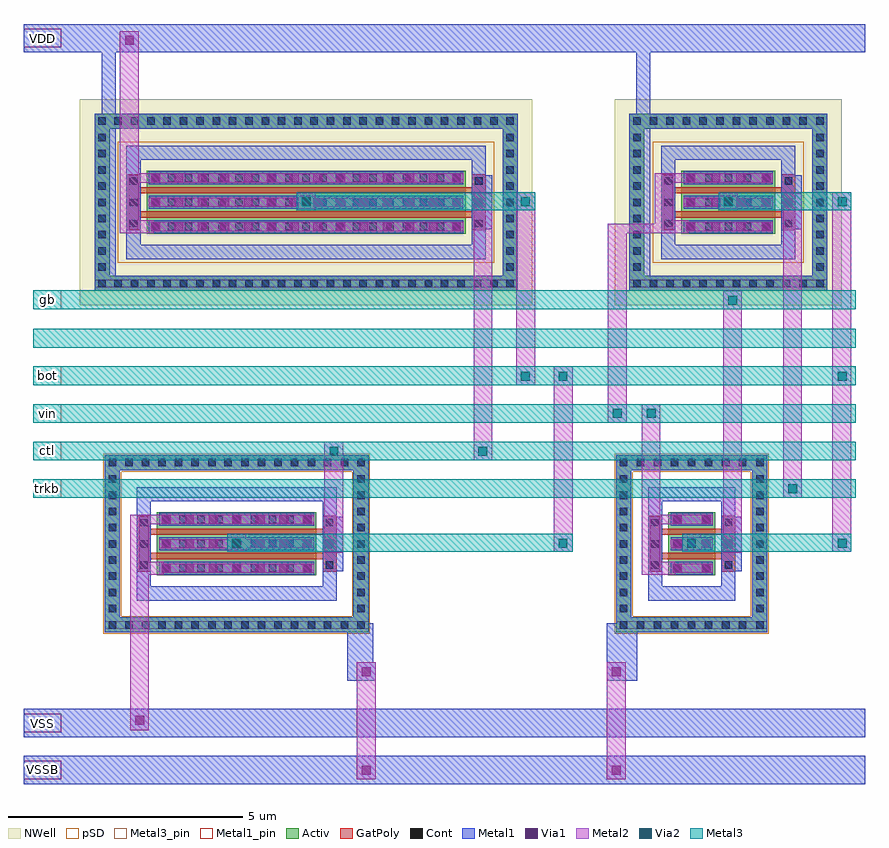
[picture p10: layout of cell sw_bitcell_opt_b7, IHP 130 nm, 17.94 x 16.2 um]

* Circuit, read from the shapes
.subckt sw_bitcell_opt_b7 VDD VSS VSSB bot ctl gb trkb vin
XM1 bot ctl VSS VSSB sg13_lv_nmos w=3.4u l=0.13u m=2
XM2 bot gb vin VSSB sg13_lv_nmos w=1u l=0.13u m=2
XM3 bot ctl VDD VDD sg13_lv_pmos w=6.8u l=0.13u m=2
XM4 bot trkb vin VDD sg13_lv_pmos w=2u l=0.13u m=2
.ends

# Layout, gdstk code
import gdstk
lib = gdstk.Library(unit=1e-6, precision=1e-09)
def R(c, l, rs):  # rectangles x0, y0, x1, y1
    for r in rs: c.add(gdstk.rectangle(r[:2], r[2:], *l))
def A(c, l, x, y, w, h, nx, ny, dx, dy):  # array of equal rectangles
    R(c, l, [(x+i*dx, y+j*dy, x+i*dx+w, y+j*dy+h) for i in range(nx) for j in range(ny)])
def P(c, l, *ps):  # polygons
    for p in ps: c.add(gdstk.Polygon(p, *l))
Activ = (1, 0)
GatPoly = (5, 0)
Cont = (6, 0)
Metal1 = (8, 0)
Metal1_pin = (8, 2)
Metal2 = (10, 0)
pSD = (14, 0)
Via1 = (19, 0)
Via2 = (29, 0)
Metal3 = (30, 0)
Metal3_pin = (30, 2)
NWell = (31, 0)

rfnmos_13 = lib.new_cell('rfnmos$13')
R(rfnmos_13, Activ, [(1.14,1.245,4.54,2.595)])
P(rfnmos_13, Activ, [(0.03,0.03),(0.03,3.49),(0.35,3.49),(0.35,0.35),(5.33,0.35),(5.33,3.49),(0.03,3.49),(0.03,3.81),(5.65,3.81),(5.65,0.03)])
R(rfnmos_13, GatPoly, [(0.71,1.32,1.01,2.52), (4.67,1.32,4.97,2.52), (1.01,1.595,4.67,1.725), (1.01,2.115,4.67,2.245)])
A(rfnmos_13, Cont, 0.46, 0.11, 0.16, 0.16, 3, 2, 0.355, 3.46)
A(rfnmos_13, Cont, 1.52, 0.11, 0.16, 0.16, 3, 2, 0.355, 3.46)
A(rfnmos_13, Cont, 2.58, 0.11, 0.16, 0.16, 3, 2, 0.355, 3.46)
A(rfnmos_13, Cont, 3.64, 0.11, 0.16, 0.16, 3, 2, 0.355, 3.46)
A(rfnmos_13, Cont, 4.7, 0.11, 0.16, 0.16, 3, 2, 0.355, 3.46)
A(rfnmos_13, Cont, 0.11, 0.46, 0.16, 0.16, 1, 9, 0, 0.345)
A(rfnmos_13, Cont, 5.41, 0.46, 0.16, 0.16, 1, 9, 0, 0.345)
A(rfnmos_13, Cont, 1.24, 1.32, 0.16, 0.16, 9, 3, 0.38, 0.52)
A(rfnmos_13, Cont, 0.78, 1.39, 0.16, 0.16, 1, 3, 0, 0.45)
A(rfnmos_13, Cont, 4.74, 1.39, 0.16, 0.16, 1, 3, 0, 0.45)
R(rfnmos_13, Cont, [(0.11,0.11,0.27,0.27), (0.11,3.57,0.27,3.73)])
A(rfnmos_13, Metal1, 1.19, 1.26, 3.3, 0.28, 1, 3, 0, 0.52)
R(rfnmos_13, Metal1, [(0.03,0.03,5.65,0.35), (0.03,0.35,0.35,3.49), (5.33,0.35,5.65,3.49), (0.76,1.34,0.96,2.5), (4.72,1.34,4.92,2.5), (0.03,3.49,5.65,3.81)])
P(rfnmos_13, Metal1, [(0.71,0.71),(0.71,2.83),(1.01,2.83),(1.01,1.01),(4.67,1.01),(4.67,2.83),(0.71,2.83),(0.71,3.13),(4.97,3.13),(4.97,0.71)])
R(rfnmos_13, Metal1_pin, [(0.03,0.11,5.65,0.27), (0.03,0.11,5.65,0.27), (1.19,1.26,4.49,1.54), (1.19,1.26,4.49,1.54), (0.76,1.34,0.96,2.5), (0.76,1.34,0.96,2.5), (1.19,1.78,4.49,2.06), (1.19,1.78,4.49,2.06)])
A(rfnmos_13, Metal2, 1.19, 1.3, 3.3, 0.2, 1, 3, 0, 0.52)
P(rfnmos_13, pSD, [(0,0),(0,3.46),(0.38,3.46),(0.38,0.38),(5.3,0.38),(5.3,3.46),(0,3.46),(0,3.84),(5.68,3.84),(5.68,0)])
A(rfnmos_13, Via1, 1.24, 1.305, 0.19, 0.19, 3, 3, 0.5, 0.52)
A(rfnmos_13, Via1, 2.745, 1.305, 0.19, 0.19, 3, 3, 0.5, 0.52)
A(rfnmos_13, Via1, 4.25, 1.305, 0.19, 0.19, 1, 3, 0, 0.52)
rfnmos_13.add(gdstk.Label('S', (2.84,1.42), layer=63, texttype=0))
rfnmos_13.add(gdstk.Label('D', (2.84,1.94), layer=63, texttype=0))
rfnmos_13.add(gdstk.Label('G', (0.86,1.92), layer=63, texttype=0))
rfnmos_13.add(gdstk.Label('TIE', (2.84,0.19), layer=63, texttype=0))
rfnmos_13.add(gdstk.Label('rfnmos', (2.84,3.65), layer=63, texttype=0))

rfpmos_12 = lib.new_cell('rfpmos$12')
R(rfpmos_12, Activ, [(1.42,1.525,8.22,2.875)])
P(rfpmos_12, Activ, [(0.31,0.31),(0.31,3.77),(0.63,3.77),(0.63,0.63),(9.01,0.63),(9.01,3.77),(0.31,3.77),(0.31,4.09),(9.33,4.09),(9.33,0.31)])
R(rfpmos_12, GatPoly, [(0.99,1.6,1.29,2.8), (8.35,1.6,8.65,2.8), (1.29,1.875,8.35,2.005), (1.29,2.395,8.35,2.525)])
A(rfpmos_12, Cont, 1.43, 0.39, 0.16, 0.16, 3, 2, 0.35, 3.46)
A(rfpmos_12, Cont, 3.17, 0.39, 0.16, 0.16, 3, 2, 0.35, 3.46)
A(rfpmos_12, Cont, 4.91, 0.39, 0.16, 0.16, 3, 2, 0.35, 3.46)
A(rfpmos_12, Cont, 6.65, 0.39, 0.16, 0.16, 3, 2, 0.35, 3.46)
A(rfpmos_12, Cont, 8.39, 0.39, 0.16, 0.16, 3, 2, 0.35, 3.46)
A(rfpmos_12, Cont, 0.39, 0.74, 0.16, 0.16, 1, 9, 0, 0.345)
A(rfpmos_12, Cont, 9.09, 0.74, 0.16, 0.16, 1, 9, 0, 0.345)
A(rfpmos_12, Cont, 1.52, 1.6, 0.16, 0.16, 1, 3, 0, 0.52)
A(rfpmos_12, Cont, 1.875, 1.6, 0.16, 0.16, 1, 3, 0, 0.52)
A(rfpmos_12, Cont, 2.235, 1.6, 0.16, 0.16, 1, 3, 0, 0.52)
A(rfpmos_12, Cont, 2.59, 1.6, 0.16, 0.16, 1, 3, 0, 0.52)
A(rfpmos_12, Cont, 2.95, 1.6, 0.16, 0.16, 1, 3, 0, 0.52)
A(rfpmos_12, Cont, 3.305, 1.6, 0.16, 0.16, 1, 3, 0, 0.52)
A(rfpmos_12, Cont, 3.665, 1.6, 0.16, 0.16, 1, 3, 0, 0.52)
A(rfpmos_12, Cont, 4.02, 1.6, 0.16, 0.16, 3, 3, 0.36, 0.52)
A(rfpmos_12, Cont, 5.095, 1.6, 0.16, 0.16, 1, 3, 0, 0.52)
A(rfpmos_12, Cont, 5.455, 1.6, 0.16, 0.16, 1, 3, 0, 0.52)
A(rfpmos_12, Cont, 5.81, 1.6, 0.16, 0.16, 1, 3, 0, 0.52)
A(rfpmos_12, Cont, 6.17, 1.6, 0.16, 0.16, 1, 3, 0, 0.52)
A(rfpmos_12, Cont, 6.525, 1.6, 0.16, 0.16, 1, 3, 0, 0.52)
A(rfpmos_12, Cont, 6.885, 1.6, 0.16, 0.16, 1, 3, 0, 0.52)
A(rfpmos_12, Cont, 7.24, 1.6, 0.16, 0.16, 3, 3, 0.36, 0.52)
A(rfpmos_12, Cont, 1.06, 1.67, 0.16, 0.16, 1, 3, 0, 0.45)
A(rfpmos_12, Cont, 8.42, 1.67, 0.16, 0.16, 1, 3, 0, 0.45)
R(rfpmos_12, Cont, [(0.39,0.39,0.55,0.55), (0.735,0.39,0.895,0.55), (1.085,0.39,1.245,0.55), (2.475,0.39,2.635,0.55), (2.825,0.39,2.985,0.55), (4.215,0.39,4.375,0.55), (4.565,0.39,4.725,0.55), (5.955,0.39,6.115,0.55), (6.305,0.39,6.465,0.55), (7.695,0.39,7.855,0.55), (8.045,0.39,8.205,0.55), (0.39,3.85,0.55,4.01), (0.735,3.85,0.895,4.01), (1.085,3.85,1.245,4.01), (2.475,3.85,2.635,4.01), (2.825,3.85,2.985,4.01), (4.215,3.85,4.375,4.01), (4.565,3.85,4.725,4.01), (5.955,3.85,6.115,4.01), (6.305,3.85,6.465,4.01), (7.695,3.85,7.855,4.01), (8.045,3.85,8.205,4.01)])
A(rfpmos_12, Metal1, 1.47, 1.54, 6.7, 0.28, 1, 3, 0, 0.52)
R(rfpmos_12, Metal1, [(0.31,0.31,9.33,0.63), (0.31,0.63,0.63,3.77), (9.01,0.63,9.33,3.77), (1.04,1.62,1.24,2.78), (8.4,1.62,8.6,2.78), (0.31,3.77,9.33,4.09)])
P(rfpmos_12, Metal1, [(0.99,0.99),(0.99,3.11),(1.29,3.11),(1.29,1.29),(8.35,1.29),(8.35,3.11),(0.99,3.11),(0.99,3.41),(8.65,3.41),(8.65,0.99)])
R(rfpmos_12, Metal1_pin, [(0.31,0.39,9.33,0.55), (0.31,0.39,9.33,0.55), (1.47,1.54,8.17,1.82), (1.47,1.54,8.17,1.82), (1.04,1.62,1.24,2.78), (1.04,1.62,1.24,2.78), (1.47,2.06,8.17,2.34), (1.47,2.06,8.17,2.34)])
A(rfpmos_12, Metal2, 1.47, 1.58, 6.7, 0.2, 1, 3, 0, 0.52)
R(rfpmos_12, pSD, [(0.81,0.91,8.83,3.49)])
A(rfpmos_12, Via1, 1.52, 1.585, 0.19, 0.19, 1, 3, 0, 0.52)
A(rfpmos_12, Via1, 2.01, 1.585, 0.19, 0.19, 1, 3, 0, 0.52)
A(rfpmos_12, Via1, 2.505, 1.585, 0.19, 0.19, 1, 3, 0, 0.52)
A(rfpmos_12, Via1, 2.995, 1.585, 0.19, 0.19, 3, 3, 0.495, 0.52)
A(rfpmos_12, Via1, 4.475, 1.585, 0.19, 0.19, 1, 3, 0, 0.52)
A(rfpmos_12, Via1, 4.97, 1.585, 0.19, 0.19, 1, 3, 0, 0.52)
A(rfpmos_12, Via1, 5.46, 1.585, 0.19, 0.19, 3, 3, 0.495, 0.52)
A(rfpmos_12, Via1, 6.94, 1.585, 0.19, 0.19, 3, 3, 0.495, 0.52)
R(rfpmos_12, NWell, [(0,0,9.64,4.4)])
rfpmos_12.add(gdstk.Label('S', (4.82,1.7), layer=63, texttype=0))
rfpmos_12.add(gdstk.Label('D', (4.82,2.22), layer=63, texttype=0))
rfpmos_12.add(gdstk.Label('G', (1.14,2.2), layer=63, texttype=0))
rfpmos_12.add(gdstk.Label('TIE', (4.82,0.47), layer=63, texttype=0))
rfpmos_12.add(gdstk.Label('rfpmos', (4.82,3.93), layer=63, texttype=0))

rfnmos_1_9 = lib.new_cell('rfnmos$1$9')
R(rfnmos_1_9, Activ, [(1.14,1.245,2.14,2.595)])
P(rfnmos_1_9, Activ, [(0.03,0.03),(0.03,3.49),(0.35,3.49),(0.35,0.35),(2.93,0.35),(2.93,3.49),(0.03,3.49),(0.03,3.81),(3.25,3.81),(3.25,0.03)])
R(rfnmos_1_9, GatPoly, [(0.71,1.32,1.01,2.52), (2.27,1.32,2.57,2.52), (1.01,1.595,2.27,1.725), (1.01,2.115,2.27,2.245)])
A(rfnmos_1_9, Cont, 0.11, 0.46, 0.16, 0.16, 1, 9, 0, 0.345)
A(rfnmos_1_9, Cont, 3.01, 0.46, 0.16, 0.16, 1, 9, 0, 0.345)
A(rfnmos_1_9, Cont, 1.24, 1.32, 0.16, 0.16, 1, 3, 0, 0.52)
A(rfnmos_1_9, Cont, 1.88, 1.32, 0.16, 0.16, 1, 3, 0, 0.52)
A(rfnmos_1_9, Cont, 0.78, 1.39, 0.16, 0.16, 1, 3, 0, 0.45)
A(rfnmos_1_9, Cont, 2.34, 1.39, 0.16, 0.16, 1, 3, 0, 0.45)
R(rfnmos_1_9, Cont, [(0.11,0.11,0.27,0.27), (0.47,0.11,0.63,0.27), (0.835,0.11,0.995,0.27), (1.195,0.11,1.355,0.27), (1.56,0.11,1.72,0.27), (1.92,0.11,2.08,0.27), (2.285,0.11,2.445,0.27), (2.645,0.11,2.805,0.27), (3.01,0.11,3.17,0.27), (0.11,3.57,0.27,3.73), (0.47,3.57,0.63,3.73), (0.835,3.57,0.995,3.73), (1.195,3.57,1.355,3.73), (1.56,3.57,1.72,3.73), (1.92,3.57,2.08,3.73), (2.285,3.57,2.445,3.73), (2.645,3.57,2.805,3.73), (3.01,3.57,3.17,3.73)])
A(rfnmos_1_9, Metal1, 1.19, 1.26, 0.9, 0.28, 1, 3, 0, 0.52)
R(rfnmos_1_9, Metal1, [(0.03,0.03,3.25,0.35), (0.03,0.35,0.35,3.49), (2.93,0.35,3.25,3.49), (0.76,1.34,0.96,2.5), (2.32,1.34,2.52,2.5), (0.03,3.49,3.25,3.81)])
P(rfnmos_1_9, Metal1, [(0.71,0.71),(0.71,2.83),(1.01,2.83),(1.01,1.01),(2.27,1.01),(2.27,2.83),(0.71,2.83),(0.71,3.13),(2.57,3.13),(2.57,0.71)])
R(rfnmos_1_9, Metal1_pin, [(0.03,0.11,3.25,0.27), (0.03,0.11,3.25,0.27), (1.19,1.26,2.09,1.54), (1.19,1.26,2.09,1.54), (0.76,1.34,0.96,2.5), (0.76,1.34,0.96,2.5), (1.19,1.78,2.09,2.06), (1.19,1.78,2.09,2.06)])
A(rfnmos_1_9, Metal2, 1.19, 1.3, 0.9, 0.2, 1, 3, 0, 0.52)
P(rfnmos_1_9, pSD, [(0,0),(0,3.46),(0.38,3.46),(0.38,0.38),(2.9,0.38),(2.9,3.46),(0,3.46),(0,3.84),(3.28,3.84),(3.28,0)])
A(rfnmos_1_9, Via1, 1.24, 1.305, 0.19, 0.19, 1, 3, 0, 0.52)
A(rfnmos_1_9, Via1, 1.85, 1.305, 0.19, 0.19, 1, 3, 0, 0.52)
rfnmos_1_9.add(gdstk.Label('S', (1.64,1.42), layer=63, texttype=0))
rfnmos_1_9.add(gdstk.Label('D', (1.64,1.94), layer=63, texttype=0))
rfnmos_1_9.add(gdstk.Label('G', (0.86,1.92), layer=63, texttype=0))
rfnmos_1_9.add(gdstk.Label('TIE', (1.64,0.19), layer=63, texttype=0))
rfnmos_1_9.add(gdstk.Label('rfnmos', (1.64,3.65), layer=63, texttype=0))

rfpmos_1_9 = lib.new_cell('rfpmos$1$9')
R(rfpmos_1_9, Activ, [(1.42,1.525,3.42,2.875)])
P(rfpmos_1_9, Activ, [(0.31,0.31),(0.31,3.77),(0.63,3.77),(0.63,0.63),(4.21,0.63),(4.21,3.77),(0.31,3.77),(0.31,4.09),(4.53,4.09),(4.53,0.31)])
R(rfpmos_1_9, GatPoly, [(0.99,1.6,1.29,2.8), (3.55,1.6,3.85,2.8), (1.29,1.875,3.55,2.005), (1.29,2.395,3.55,2.525)])
A(rfpmos_1_9, Cont, 0.74, 0.39, 0.16, 0.16, 11, 2, 0.355, 3.46)
A(rfpmos_1_9, Cont, 0.39, 0.74, 0.16, 0.16, 1, 9, 0, 0.345)
A(rfpmos_1_9, Cont, 4.29, 0.74, 0.16, 0.16, 1, 9, 0, 0.345)
A(rfpmos_1_9, Cont, 1.52, 1.6, 0.16, 0.16, 5, 3, 0.41, 0.52)
A(rfpmos_1_9, Cont, 1.06, 1.67, 0.16, 0.16, 1, 3, 0, 0.45)
A(rfpmos_1_9, Cont, 3.62, 1.67, 0.16, 0.16, 1, 3, 0, 0.45)
R(rfpmos_1_9, Cont, [(0.39,0.39,0.55,0.55), (0.39,3.85,0.55,4.01)])
A(rfpmos_1_9, Metal1, 1.47, 1.54, 1.9, 0.28, 1, 3, 0, 0.52)
R(rfpmos_1_9, Metal1, [(0.31,0.31,4.53,0.63), (0.31,0.63,0.63,3.77), (4.21,0.63,4.53,3.77), (1.04,1.62,1.24,2.78), (3.6,1.62,3.8,2.78), (0.31,3.77,4.53,4.09)])
P(rfpmos_1_9, Metal1, [(0.99,0.99),(0.99,3.11),(1.29,3.11),(1.29,1.29),(3.55,1.29),(3.55,3.11),(0.99,3.11),(0.99,3.41),(3.85,3.41),(3.85,0.99)])
R(rfpmos_1_9, Metal1_pin, [(0.31,0.39,4.53,0.55), (0.31,0.39,4.53,0.55), (1.47,1.54,3.37,1.82), (1.47,1.54,3.37,1.82), (1.04,1.62,1.24,2.78), (1.04,1.62,1.24,2.78), (1.47,2.06,3.37,2.34), (1.47,2.06,3.37,2.34)])
A(rfpmos_1_9, Metal2, 1.47, 1.58, 1.9, 0.2, 1, 3, 0, 0.52)
R(rfpmos_1_9, pSD, [(0.81,0.91,4.03,3.49)])
A(rfpmos_1_9, Via1, 1.52, 1.585, 0.19, 0.19, 3, 3, 0.535, 0.52)
A(rfpmos_1_9, Via1, 3.13, 1.585, 0.19, 0.19, 1, 3, 0, 0.52)
R(rfpmos_1_9, NWell, [(0,0,4.84,4.4)])
rfpmos_1_9.add(gdstk.Label('S', (2.42,1.7), layer=63, texttype=0))
rfpmos_1_9.add(gdstk.Label('D', (2.42,2.22), layer=63, texttype=0))
rfpmos_1_9.add(gdstk.Label('G', (1.14,2.2), layer=63, texttype=0))
rfpmos_1_9.add(gdstk.Label('TIE', (2.42,0.47), layer=63, texttype=0))
rfpmos_1_9.add(gdstk.Label('rfpmos', (2.42,3.93), layer=63, texttype=0))

sw_bitcell_opt_b7 = lib.new_cell('sw_bitcell_opt_b7')
R(sw_bitcell_opt_b7, Metal1, [(-1.2,-3.2,16.74,-2.6), (5.9,-3.1,6.3,-2.7), (11.23,-3.1,11.63,-2.7), (-1.2,-2.2,16.74,-1.6), (1.07,-2.05,1.47,-1.65), (5.7,-1,6.25,0.23), (5.9,-1,6.3,-0.6), (11.23,-1,11.63,-0.6), (11.23,-1,11.88,0.23), (5.21,1.34,5.61,2.5), (13.71,1.34,14.11,2.5), (0.46,7.44,0.76,12.4), (11.86,7.44,12.16,12.4), (8.39,8.62,8.79,9.78), (14.99,8.62,15.39,9.78), (-1.2,12.4,16.74,13), (0.85,12.45,1.25,12.85)])
R(sw_bitcell_opt_b7, Metal1_pin, [(-1.2,-3.1,-0.4,-2.7), (-1.2,-2.1,-0.4,-1.7), (-1.2,12.5,-0.4,12.9)])
R(sw_bitcell_opt_b7, Metal2, [(5.9,-3.1,6.3,-2.7), (11.23,-3.1,11.63,-2.7), (5.9,-2.9,6.3,-0.8), (11.23,-2.9,11.63,-0.8), (1.07,-2.05,1.47,-1.65), (1.07,-1.9,1.47,1.46), (5.9,-1,6.3,-0.6), (11.23,-1,11.63,-0.6), (1.07,1.26,1.79,1.54), (1.07,1.26,1.47,2.54), (11.97,1.26,12.69,1.54), (11.97,1.26,12.37,2.54), (5.21,1.73,5.61,2.11), (13.71,1.73,14.11,2.11), (3.14,1.75,3.54,2.13), (10.1,1.75,10.5,2.13), (12.84,1.75,13.24,2.13), (16.04,1.75,16.44,2.13), (5.21,1.92,5.61,3.9), (13.71,1.92,14.11,7.12), (10.1,1.94,10.5,5.5), (16.04,1.94,16.44,5.5), (1.07,2.34,1.79,2.54), (11.97,2.34,12.69,2.54), (11.97,2.4,12.37,4.9), (14.99,2.9,15.39,3.3), (14.99,3.1,15.39,9.2), (5.21,3.7,5.61,4.1), (8.39,3.7,8.79,4.1), (8.39,3.9,8.79,9.2), (11.25,4.5,11.65,4.9), (11.25,4.5,11.65,8.74), (11.97,4.5,12.37,4.9), (9.3,5.3,9.7,5.7), (10.1,5.3,10.5,5.7), (16.04,5.3,16.44,5.7), (16.04,5.3,16.44,5.7), (9.3,5.5,9.7,9.22), (16.04,5.5,16.44,9.22), (13.71,6.93,14.11,7.31), (0.85,8.54,1.57,8.82), (0.85,8.54,1.25,9.82), (11.25,8.54,12.65,8.74), (12.25,8.54,12.97,8.82), (12.25,8.54,12.65,9.82), (8.39,9.01,8.79,9.39), (14.99,9.01,15.39,9.39), (4.62,9.03,5.02,9.41), (9.3,9.03,9.7,9.41), (13.62,9.03,14.02,9.41), (16.04,9.03,16.44,9.41), (0.85,9.62,1.57,9.82), (0.85,9.62,1.25,12.7), (12.25,9.62,12.97,9.82), (0.85,12.45,1.25,12.85)])
R(sw_bitcell_opt_b7, Via1, [(6.01,-3,6.2,-2.81), (11.34,-3,11.53,-2.81), (1.18,-1.94,1.37,-1.75), (6.01,-0.9,6.2,-0.71), (11.34,-0.9,11.53,-0.71), (5.22,1.82,5.41,2.01), (13.72,1.82,13.91,2.01), (8.4,9.1,8.59,9.29), (15,9.1,15.19,9.29), (0.96,12.56,1.15,12.75)])
R(sw_bitcell_opt_b7, Via2, [(3.24,1.84,3.43,2.03), (10.2,1.84,10.39,2.03), (12.94,1.84,13.13,2.03), (16.15,1.84,16.34,2.03), (15.1,3,15.29,3.19), (5.32,3.8,5.51,3.99), (8.49,3.8,8.68,3.99), (11.36,4.61,11.55,4.8), (12.08,4.61,12.27,4.8), (9.4,5.4,9.59,5.59), (10.2,5.4,10.39,5.59), (16.15,5.4,16.34,5.59), (16.15,5.4,16.34,5.59), (13.82,7.02,14.01,7.21), (4.73,9.12,4.92,9.31), (9.4,9.12,9.59,9.31), (13.72,9.12,13.91,9.31), (16.15,9.12,16.34,9.31)])
A(sw_bitcell_opt_b7, Metal3, -1, 2.9, 17.54, 0.4, 1, 5, 0, 0.8)
R(sw_bitcell_opt_b7, Metal3, [(3.14,1.75,10.5,2.13), (3.14,1.75,3.54,2.13), (10.1,1.75,10.5,2.13), (12.84,1.75,13.24,2.13), (12.84,1.75,16.44,2.13), (16.04,1.75,16.44,2.13), (14.99,2.9,15.39,3.3), (5.21,3.7,5.61,4.1), (8.39,3.7,8.79,4.1), (11.25,4.5,11.65,4.9), (11.97,4.5,12.37,4.9), (9.3,5.3,9.7,5.7), (10.1,5.3,10.5,5.7), (16.04,5.3,16.44,5.7), (16.04,5.3,16.44,5.7), (-1,6.92,16.54,7.32), (13.71,6.93,14.11,7.31), (4.62,9.03,5.02,9.41), (4.62,9.03,9.7,9.41), (9.3,9.03,9.7,9.41), (13.62,9.03,14.02,9.41), (13.62,9.03,16.44,9.41), (16.04,9.03,16.44,9.41)])
A(sw_bitcell_opt_b7, Metal3_pin, -1, 2.9, 0.6, 0.4, 1, 4, 0, 0.8)
R(sw_bitcell_opt_b7, Metal3_pin, [(-1,6.92,-0.4,7.32)])
sw_bitcell_opt_b7.add(gdstk.Reference(rfnmos_13, (0.5,0)))
sw_bitcell_opt_b7.add(gdstk.Reference(rfpmos_12, (0,7)))
sw_bitcell_opt_b7.add(gdstk.Reference(rfnmos_1_9, (11.4,0)))
sw_bitcell_opt_b7.add(gdstk.Reference(rfpmos_1_9, (11.4,7)))
sw_bitcell_opt_b7.add(gdstk.Label('VSS', (-0.8,-1.9), layer=8, texttype=25))
sw_bitcell_opt_b7.add(gdstk.Label('VSSB', (-0.8,-2.9), layer=8, texttype=25))
sw_bitcell_opt_b7.add(gdstk.Label('VDD', (-0.8,12.7), layer=8, texttype=25))
sw_bitcell_opt_b7.add(gdstk.Label('bot', (-0.7,5.5), layer=30, texttype=25))
sw_bitcell_opt_b7.add(gdstk.Label('vin', (-0.7,4.7), layer=30, texttype=25))
sw_bitcell_opt_b7.add(gdstk.Label('ctl', (-0.7,3.9), layer=30, texttype=25))
sw_bitcell_opt_b7.add(gdstk.Label('trkb', (-0.7,3.1), layer=30, texttype=25))
sw_bitcell_opt_b7.add(gdstk.Label('gb', (-0.7,7.12), layer=30, texttype=25))

lib.write_gds('sw_bitcell_opt_b7.gds')
